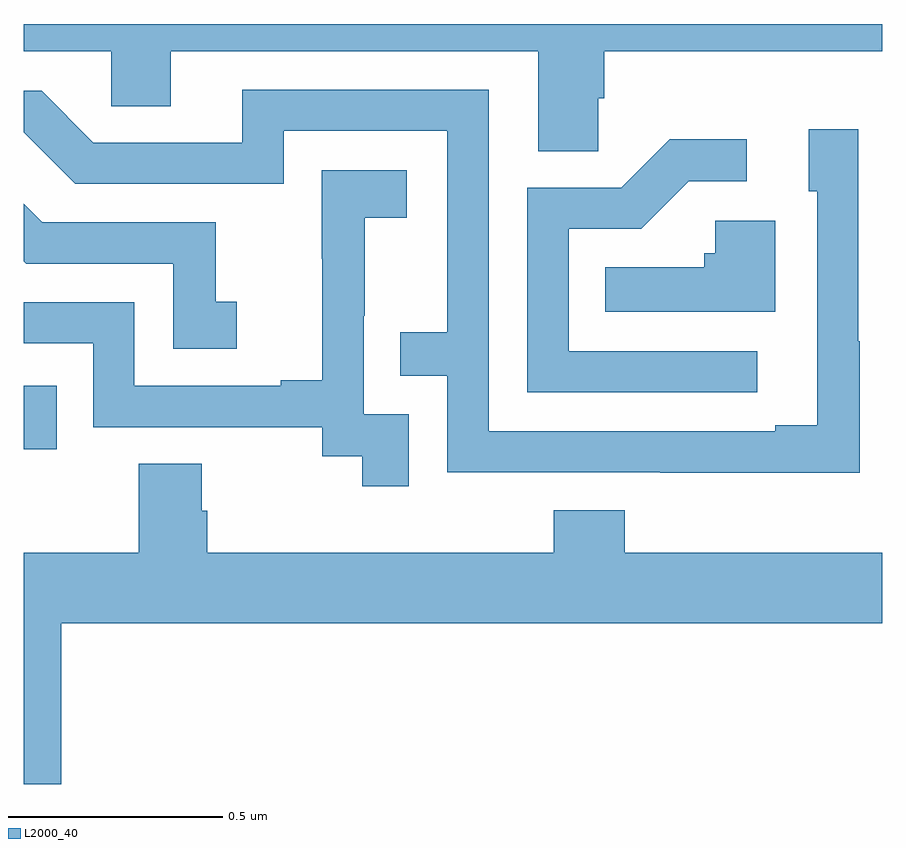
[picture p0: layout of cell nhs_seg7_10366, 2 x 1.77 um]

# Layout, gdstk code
import gdstk
lib = gdstk.Library(unit=1e-6, precision=1e-09)
def R(c, l, rs):  # rectangles x0, y0, x1, y1
    for r in rs: c.add(gdstk.rectangle(r[:2], r[2:], *l))
def P(c, l, *ps):  # polygons
    for p in ps: c.add(gdstk.Polygon(p, *l))
L2000_40 = (2000, 40)

nhs_seg7_10366 = lib.new_cell('nhs_seg7_10366')
R(nhs_seg7_10366, L2000_40, [(249,1013.01,249.077,1013.157)])
P(nhs_seg7_10366, L2000_40, [(250.338,1013.827),(250.352,1013.827),(250.352,1013.936),(251,1013.936),(251,1014),(249,1014),(249,1013.936),(249.204,1013.936),(249.204,1013.809),(249.343,1013.809),(249.343,1013.936),(250.199,1013.936),(250.199,1013.704),(250.338,1013.704)],
  [(250.947,1013.261),(250.944,1013.261),(250.944,1013.755),(250.829,1013.755),(250.829,1013.61),(250.848,1013.61),(250.848,1013.065),(250.751,1013.065),(250.751,1013.052),(250.083,1013.052),(250.083,1013.847),(249.509,1013.847),(249.509,1013.724),(249.162,1013.724),(249.042,1013.844),(249,1013.844),(249,1013.748),(249.12,1013.628),(249.606,1013.628),(249.606,1013.751),(249.987,1013.751),(249.987,1013.282),(249.877,1013.282),(249.877,1013.181),(249.987,1013.181),(249.987,1012.956),(250.483,1012.956),(250.483,1012.955),(250.947,1012.955)],
  [(250.708,1013.238),(250.269,1013.238),(250.269,1013.523),(250.438,1013.523),(250.549,1013.634),(250.684,1013.634),(250.684,1013.732),(250.505,1013.732),(250.392,1013.619),(250.173,1013.619),(250.173,1013.142),(250.708,1013.142)],
  [(249.897,1013.091),(249.792,1013.091),(249.792,1013.321),(249.794,1013.321),(249.794,1013.549),(249.892,1013.549),(249.892,1013.659),(249.694,1013.659),(249.694,1013.453),(249.695,1013.453),(249.695,1013.17),(249.599,1013.17),(249.599,1013.157),(249.258,1013.157),(249.258,1013.352),(249,1013.352),(249,1013.256),(249.162,1013.256),(249.162,1013.061),(249.696,1013.061),(249.696,1012.993),(249.789,1012.993),(249.789,1012.923),(249.897,1012.923)],
  [(249.496,1013.353),(249.447,1013.353),(249.447,1013.538),(249.043,1013.538),(249,1013.581),(249,1013.448),(249.006,1013.442),(249.348,1013.442),(249.348,1013.244),(249.496,1013.244)],
  [(250.75,1013.542),(250.611,1013.542),(250.611,1013.466),(250.585,1013.466),(250.585,1013.434),(250.354,1013.434),(250.354,1013.33),(250.75,1013.33)],
  [(249.088,1012.604),(251,1012.604),(251,1012.768),(250.4,1012.768),(250.4,1012.867),(250.235,1012.867),(250.235,1012.768),(249.428,1012.768),(249.428,1012.866),(249.415,1012.866),(249.415,1012.976),(249.268,1012.976),(249.268,1012.768),(249,1012.768),(249,1012.23),(249.088,1012.23)])

lib.write_gds('nhs_seg7_10366.gds')
